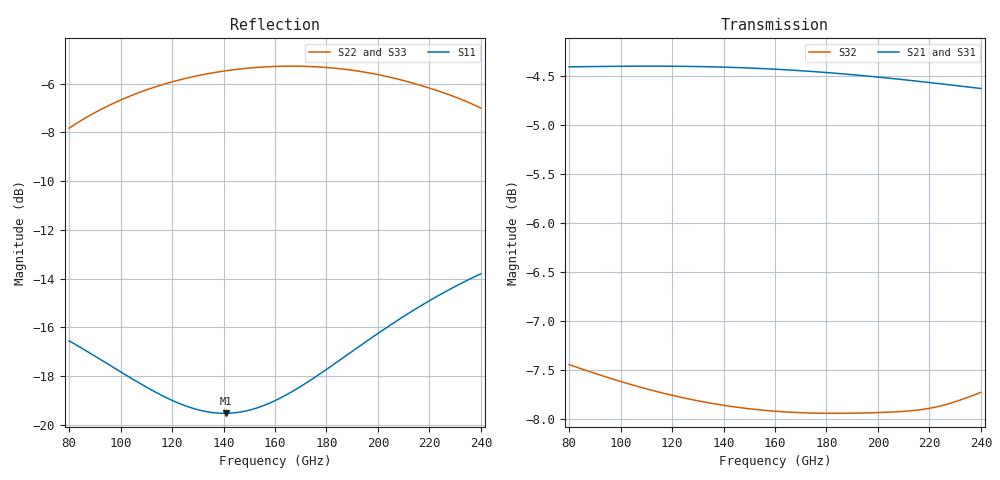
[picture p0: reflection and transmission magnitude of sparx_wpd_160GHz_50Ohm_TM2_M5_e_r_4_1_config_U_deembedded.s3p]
! Created with skrf 2.0.1 (http://scikit-rf.org).
# GHz S DB R 50.0
!freq dBS11 angS11 dBS12 angS12 dBS13 angS13
! dBS21 angS21 dBS22 angS22 dBS23 angS23
! dBS31 angS31 dBS32 angS32 dBS33 angS33
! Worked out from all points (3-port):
!   101 points, 80 GHz to 240 GHz, reference 50 ohm
!   strongest paths, dB at 80 GHz, 120 GHz, 160 GHz, 200 GHz, 240 GHz:
!     S21: -4.4, -4.4, -4.4, -4.5, -4.6
!     S31: -4.4, -4.4, -4.4, -4.5, -4.6
!     S32: -7.4, -7.8, -7.9, -7.9, -7.7
!   lowest |S11| = -19.5 dB at 140.8 GHz (marker M1), VSWR 1.24, Z = 40.7 - j2.41 ohm
!   |S11| at or under -10 dB: start of sweep to end of sweep
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80  -16.55 170.3  -4.40 -43.9  -4.40 -43.9
    -4.40 -43.9  -7.83 43.8  -7.44 -93.7
    -4.40 -43.9  -7.44 -93.7  -7.82 43.9
92.8  -17.36 172.3  -4.40 -50.9  -4.40 -50.9
      -4.40 -50.9  -7.03 35.7  -7.56 -108.0
      -4.40 -50.9  -7.56 -108.0  -7.03 35.7
107.2  -18.28 176.6  -4.40 -58.9  -4.40 -58.9
       -4.40 -58.9  -6.36 27.0  -7.67 -123.9
       -4.40 -58.9  -7.67 -123.9  -6.36 27.0
124.8  -19.20 -174.7  -4.40 -68.6  -4.40 -68.6
       -4.40 -68.6  -5.80 16.9  -7.78 -143.2
       -4.40 -68.6  -7.78 -143.2  -5.79 16.9
140.8  -19.52 -163.9  -4.41 -77.5  -4.41 -77.5
       -4.41 -77.5  -5.47 8.0  -7.86 -160.6
       -4.41 -77.5  -7.86 -160.6  -5.47 8.1
160  -19.01 -151.0  -4.43 -88.2  -4.43 -88.2
     -4.43 -88.2  -5.29 -2.4  -7.92 178.6
     -4.43 -88.2  -7.92 178.6  -5.29 -2.3
177.6  -17.90 -142.4  -4.46 -98.0  -4.46 -98.0
       -4.46 -98.0  -5.32 -12.0  -7.94 159.4
       -4.46 -98.0  -7.94 159.4  -5.32 -11.9
195.2  -16.60 -137.6  -4.50 -107.8  -4.50 -107.8
       -4.50 -107.8  -5.53 -21.6  -7.94 140.3
       -4.50 -107.8  -7.94 140.3  -5.53 -21.5
217.6  -15.06 -136.0  -4.56 -120.2  -4.56 -120.1
       -4.56 -120.2  -6.10 -33.9  -7.90 116.0
       -4.56 -120.1  -7.90 116.0  -6.10 -33.8
240  -13.80 -137.3  -4.62 -132.4  -4.63 -132.4
     -4.62 -132.4  -7.00 -47.1  -7.73 91.7
     -4.63 -132.4  -7.73 91.7  -7.01 -46.9
